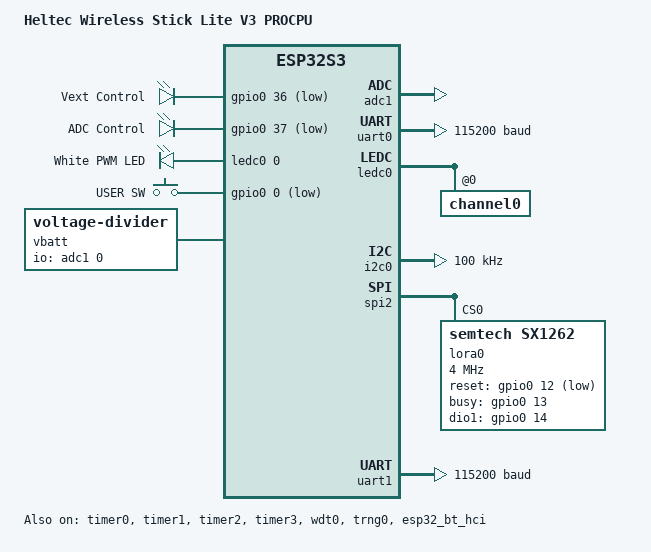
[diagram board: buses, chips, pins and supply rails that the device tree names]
/*
 * Copyright (c) 2021 Instituto de Pesquisas Eldorado (eldorado.org.br)
 * Copyright (c) 2022 Espressif Systems (Shanghai) Co., Ltd.
 * Copyright (c) 2023 The Zephyr Project Contributors
 *
 * SPDX-License-Identifier: Apache-2.0
 */
/dts-v1/;

#include <espressif/esp32s3/esp32s3_fn8.dtsi>
#include "heltec_wireless_stick_lite_v3-pinctrl.dtsi"
#include <zephyr/dt-bindings/pwm/pwm.h>
#include <zephyr/dt-bindings/input/input-event-codes.h>
#include <zephyr/dt-bindings/lora/sx126x.h>
#include <espressif/partitions_0x0_amp.dtsi>

/ {
	model = "Heltec Wireless Stick Lite V3 PROCPU";
	compatible = "espressif,esp32s3";

	aliases {
		pwm-0 = &ledc0;
		pwm-led0 = &pwm_led_white;
		uart-0 = &uart0;
		uart-1 = &uart1;
		i2c-0 = &i2c0;
		lora0 = &lora0;
		sw0 = &button0;
		watchdog0 = &wdt0;
	};

	leds {
		compatible = "gpio-leds";

		vext: vext {
			gpios = <&gpio0 36 (GPIO_PULL_UP | GPIO_ACTIVE_LOW)>;
			label = "Vext Control";
		};

		adc: adc {
			gpios = <&gpio0 37 GPIO_ACTIVE_LOW>;
			label = "ADC Control";
		};
	};

	pwmleds {
		compatible = "pwm-leds";
		pwm_led_white: pwm_led_gpio0_35 {
			label = "White PWM LED";
			pwms = <&ledc0 0 PWM_MSEC(10) PWM_POLARITY_NORMAL>;
		};
	};

	buttons {
		compatible = "gpio-keys";
		button0: button_0 {
			gpios = <&gpio0 0 (GPIO_PULL_UP | GPIO_ACTIVE_LOW)>;
			label = "USER SW";
			zephyr,code = <INPUT_KEY_0>;
		};
	};

	vbatt {
		compatible = "voltage-divider";
		io-channels = <&adc1 0>;
		output-ohms = <100000>;
		full-ohms = <(100000 + 390000)>;
	};

	chosen {
		zephyr,sram = &sram1;
		zephyr,console = &uart0;
		zephyr,shell-uart = &uart0;
		zephyr,flash = &flash0;
		zephyr,code-partition = &slot0_partition;
		zephyr,bt-hci = &esp32_bt_hci;
	};
};

&flash0 {
	reg = <0x0 DT_SIZE_M(4)>;
};

&adc1 {
	status ="okay";
};

&uart0 {
	status = "okay";
	current-speed = <115200>;
	pinctrl-0 = <&uart0_default>;
	pinctrl-names = "default";
};

&gpio0 {
	status = "okay";
};

&gpio1 {
	status = "okay";
};

&ledc0 {
	pinctrl-0 = <&ledc0_default>;
	pinctrl-names = "default";
	status = "okay";
	#address-cells = <1>;
	#size-cells = <0>;
	channel0@0 {
		reg = <0x0>;
		timer = <0>;
	};
};

&i2c0 {
	clock-frequency = <I2C_BITRATE_STANDARD>;
	pinctrl-0 = <&i2c0_default>;
	pinctrl-names = "default";
};

&spi2 {
	#address-cells = <1>;
	#size-cells = <0>;
	status = "okay";
	pinctrl-0 = <&spim2_default>;
	pinctrl-names = "default";
	lora0: lora@0 {
		compatible = "semtech,sx1262";
		reg = <0>;
		reset-gpios = <&gpio0 12 (GPIO_OPEN_DRAIN | GPIO_ACTIVE_LOW)>;
		busy-gpios = <&gpio0 13 GPIO_ACTIVE_HIGH>;
		dio1-gpios = <&gpio0 14 GPIO_ACTIVE_HIGH>;
		dio2-tx-enable;
		dio3-tcxo-voltage = <SX126X_DIO3_TCXO_1V8>;
		tcxo-power-startup-delay-ms = <5>;
		spi-max-frequency = <4000000>;
	};
};

&twai {
	pinctrl-0 = <&twai_default>;
	pinctrl-names = "default";
};

&timer0 {
	status = "okay";
};

&timer1 {
	status = "okay";
};

&timer2 {
	status = "okay";
};

&timer3 {
	status = "okay";
};

&wdt0 {
	status = "okay";
};

&trng0 {
	status = "okay";
};

&uart1 {
	status = "okay";
	current-speed = <115200>;
	pinctrl-0 = <&uart1_default>;
	pinctrl-names = "default";
};

&esp32_bt_hci {
	status = "okay";
};
